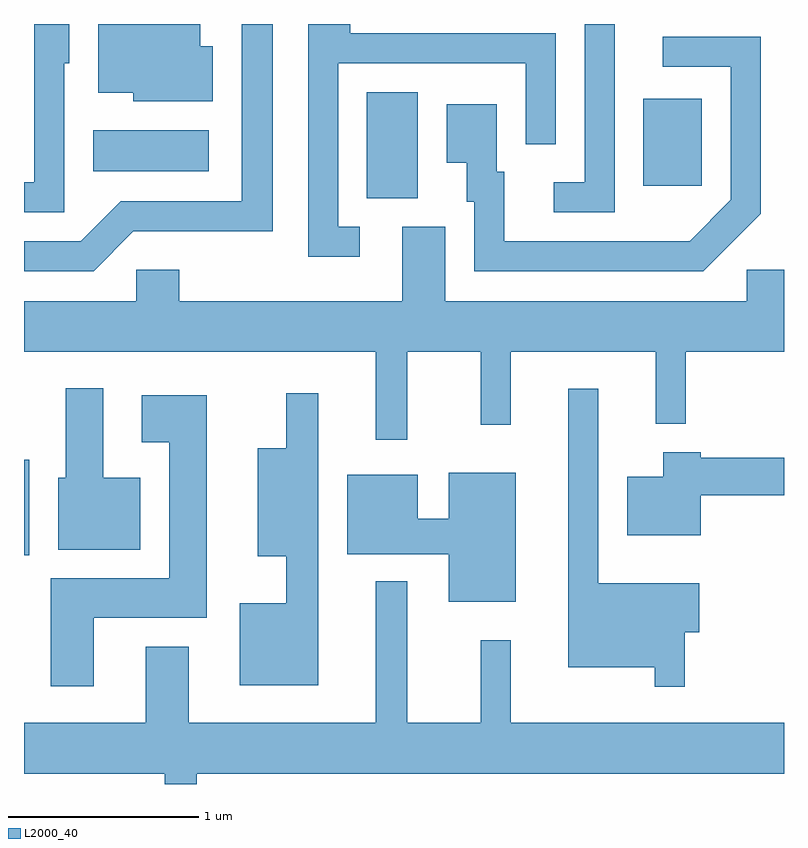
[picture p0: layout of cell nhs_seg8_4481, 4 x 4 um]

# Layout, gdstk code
import gdstk
lib = gdstk.Library(unit=1e-6, precision=1e-09)
def R(c, l, rs):  # rectangles x0, y0, x1, y1
    for r in rs: c.add(gdstk.rectangle(r[:2], r[2:], *l))
def P(c, l, *ps):  # polygons
    for p in ps: c.add(gdstk.Polygon(p, *l))
L2000_40 = (2000, 40)

nhs_seg8_4481 = lib.new_cell('nhs_seg8_4481')
R(nhs_seg8_4481, L2000_40, [(319.611,1857.546,319.639,1858.049), (321.416,1859.426,321.684,1859.984), (322.871,1859.491,323.179,1859.949), (319.976,1859.566,320.584,1859.784)])
P(nhs_seg8_4481, L2000_40, [(321.378,1859.274),(321.264,1859.274),(321.264,1860.136),(322.251,1860.136),(322.251,1859.708),(322.409,1859.708),(322.409,1860.294),(321.329,1860.294),(321.329,1860.342),(321.106,1860.342),(321.106,1859.116),(321.378,1859.116)],
  [(320.604,1860.224),(320.539,1860.224),(320.539,1860.342),(320.001,1860.342),(320.001,1859.981),(320.186,1859.981),(320.186,1859.936),(320.604,1859.936)],
  [(319.824,1860.136),(319.849,1860.136),(319.849,1860.342),(319.666,1860.342),(319.666,1859.509),(319.611,1859.509),(319.611,1859.351),(319.824,1859.351)],
  [(320.187,1859.251),(320.919,1859.251),(320.919,1860.342),(320.756,1860.342),(320.756,1859.409),(320.119,1859.409),(319.909,1859.199),(319.611,1859.199),(319.611,1859.041),(319.977,1859.041)],
  [(322.719,1860.342),(322.561,1860.342),(322.561,1859.509),(322.398,1859.509),(322.398,1859.351),(322.719,1859.351)],
  [(323.489,1859.344),(323.489,1860.274),(322.973,1860.274),(322.973,1860.116),(323.331,1860.116),(323.331,1859.417),(323.114,1859.199),(322.139,1859.199),(322.139,1859.564),(322.099,1859.564),(322.099,1859.919),(321.836,1859.919),(321.836,1859.611),(321.941,1859.611),(321.941,1859.406),(321.981,1859.406),(321.981,1859.041),(323.187,1859.041)],
  [(321.629,1858.616),(322.016,1858.616),(322.016,1858.233),(322.174,1858.233),(322.174,1858.616),(322.936,1858.616),(322.936,1858.238),(323.094,1858.238),(323.094,1858.616),(323.611,1858.616),(323.611,1859.049),(323.416,1859.049),(323.416,1858.884),(321.829,1858.884),(321.829,1859.274),(321.601,1859.274),(321.601,1858.884),(320.429,1858.884),(320.429,1859.049),(320.201,1859.049),(320.201,1858.884),(319.611,1858.884),(319.611,1858.616),(321.461,1858.616),(321.461,1858.153),(321.629,1858.153)],
  [(320.224,1857.954),(320.029,1857.954),(320.029,1858.424),(319.831,1858.424),(319.831,1857.954),(319.791,1857.954),(319.791,1857.576),(320.224,1857.576)],
  [(323.089,1857.141),(323.164,1857.141),(323.164,1857.399),(322.634,1857.399),(322.634,1858.423),(322.476,1858.423),(322.476,1856.956),(322.931,1856.956),(322.931,1856.853),(323.089,1856.853)],
  [(321.159,1858.398),(320.991,1858.398),(320.991,1858.109),(320.841,1858.109),(320.841,1857.541),(320.991,1857.541),(320.991,1857.294),(320.746,1857.294),(320.746,1856.861),(321.159,1856.861)],
  [(319.979,1857.216),(320.574,1857.216),(320.574,1858.389),(320.231,1858.389),(320.231,1858.141),(320.376,1858.141),(320.376,1857.424),(319.751,1857.424),(319.751,1856.856),(319.979,1856.856)],
  [(323.174,1857.861),(323.611,1857.861),(323.611,1858.059),(323.174,1858.059),(323.174,1858.089),(322.976,1858.089),(322.976,1857.959),(322.786,1857.959),(322.786,1857.651),(323.174,1857.651)],
  [(322.199,1857.979),(321.846,1857.979),(321.846,1857.739),(321.684,1857.739),(321.684,1857.969),(321.311,1857.969),(321.311,1857.551),(321.846,1857.551),(321.846,1857.301),(322.199,1857.301)],
  [(320.519,1856.396),(323.611,1856.396),(323.611,1856.664),(322.174,1856.664),(322.174,1857.098),(322.016,1857.098),(322.016,1856.664),(321.629,1856.664),(321.629,1857.408),(321.461,1857.408),(321.461,1856.664),(320.479,1856.664),(320.479,1857.064),(320.251,1857.064),(320.251,1856.664),(319.611,1856.664),(319.611,1856.396),(320.351,1856.396),(320.351,1856.342),(320.519,1856.342)])

lib.write_gds('nhs_seg8_4481.gds')
